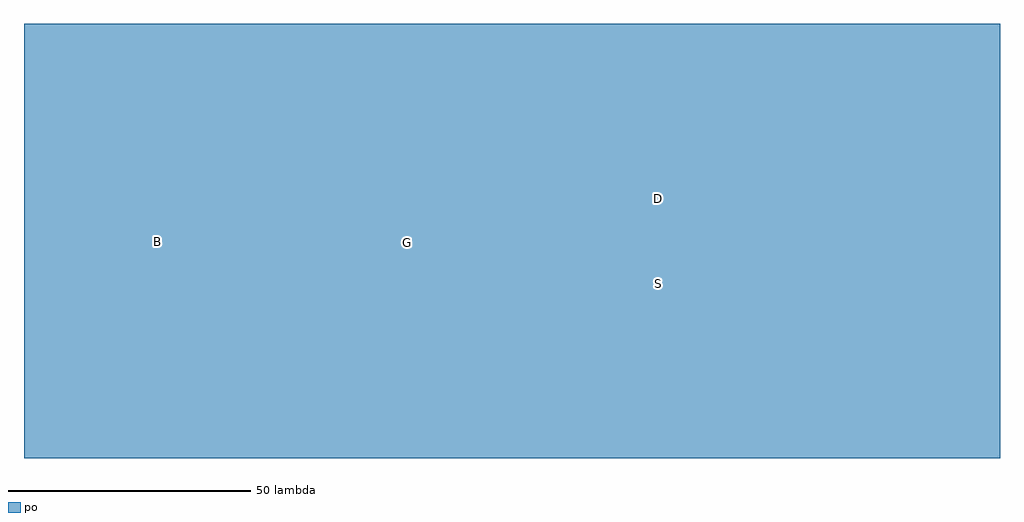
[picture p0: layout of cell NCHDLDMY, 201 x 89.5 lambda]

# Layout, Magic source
magic
tech tech
magscale 1 2
<< po >>
rect -26 -9 26 9
rect -26 9 26 26
rect -4 13 4 21
rect 181 9 232 26
rect 185 13 193 21
rect 220 13 228 21
rect -26 26 26 43
rect 181 26 232 43
rect -26 43 26 60
rect -4 48 4 56
rect 181 43 232 60
rect 185 48 193 56
rect 220 48 228 56
rect -26 60 26 77
rect 77 -3 284 3
rect 77 28 129 40
rect 82 30 90 38
rect 116 30 124 38
rect 129 31 284 37
rect 77 28 129 40
rect 77 66 284 72
rect -26 -9 26 9
rect -26 9 26 26
rect 181 11 232 23
rect 181 11 232 23
rect -26 26 26 43
rect -26 26 26 43
rect 77 28 129 40
rect -26 43 26 60
rect 181 46 232 58
rect 181 46 232 58
rect -26 60 26 77
rect -55 -55 72 124
rect 48 -55 347 124
<< labels >>
flabel po s 77 28 129 40 0 FreeSans 400 0 0 0 G
port 2 nsew signal bidirectional
flabel po s 181 11 232 23 0 FreeSans 400 0 0 0 S
port 3 nsew signal bidirectional
flabel po s -26 26 26 43 0 FreeSans 400 0 0 0 B
port 4 nsew signal bidirectional
flabel po s 181 46 232 58 0 FreeSans 400 0 0 0 D
port 1 nsew signal bidirectional
<< properties >>
string FIXED_BBOX 0 0 301 69
<< end >>
